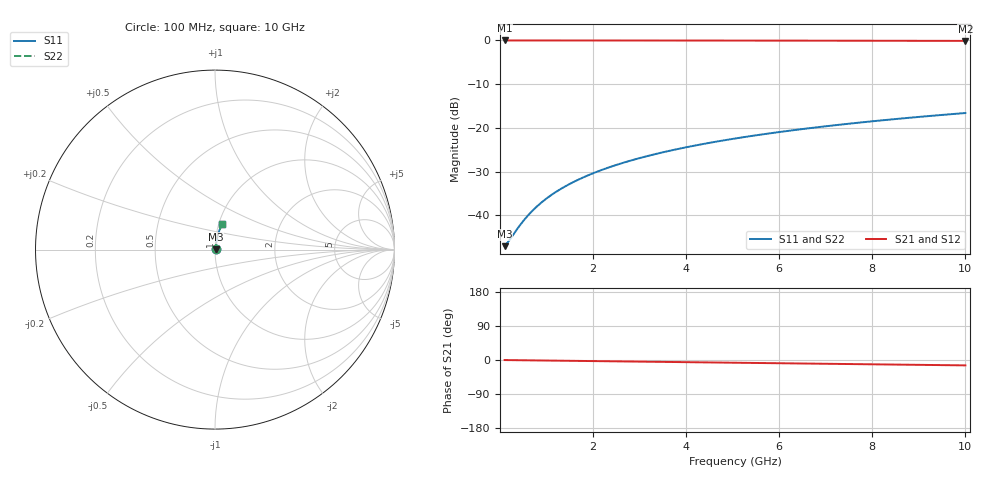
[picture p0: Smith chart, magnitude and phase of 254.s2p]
# Hz S RI R 50.00
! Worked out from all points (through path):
!   100 points, 100 MHz to 10 GHz, reference 50 ohm
!   highest |S21| = -0.04 dB at 100 MHz (marker M1); lowest = -0.1 dB at 10 GHz (marker M2)
!   group delay of S21, straight-line fit = 3.95 ps
!   lowest |S11| = -47.0 dB at 100 MHz (marker M3), VSWR 1.01, Z = 50.4 + j0.15 ohm
!   |S11| at or under -10 dB: start of sweep to end of sweep
!   |S22| runs from -47.0 to -16.6 dB; largest |S21 - S12| = 0
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1e8  0.00419 0.00149  0.9958 -0.00248  0.9958 -0.00248  0.00419 0.00149
2e8  0.00423 0.00298  0.9958 -0.00496  0.9958 -0.00496  0.00423 0.00298
4e8  0.00431 0.00595  0.9957 -0.00991  0.9957 -0.00991  0.00431 0.00595
5e8  0.00436 0.00744  0.9956 -0.0124  0.9956 -0.0124  0.00436 0.00744
6e8  0.00441 0.00893  0.9956 -0.0149  0.9956 -0.0149  0.00441 0.00893
7e8  0.00447 0.0104  0.9955 -0.0173  0.9955 -0.0173  0.00447 0.0104
8e8  0.00454 0.0119  0.9954 -0.0198  0.9954 -0.0198  0.00454 0.0119
1e9  0.00469 0.0149  0.9953 -0.0248  0.9953 -0.0248  0.00469 0.0149
1.2e9  0.00487 0.0178  0.995 -0.0297  0.995 -0.0297  0.00487 0.0178
1.5e9  0.00519 0.0223  0.9947 -0.0372  0.9947 -0.0372  0.00519 0.0223
1.8e9  0.00557 0.0267  0.9943 -0.0446  0.9943 -0.0446  0.00557 0.0267
2.1e9  0.00602 0.0312  0.9937 -0.052  0.9937 -0.052  0.00602 0.0312
2.5e9  0.00672 0.0371  0.9929 -0.0619  0.9929 -0.0619  0.00672 0.0371
2.9e9  0.00754 0.043  0.992 -0.0717  0.992 -0.0717  0.00754 0.043
3.4e9  0.00872 0.0503  0.9907 -0.084  0.9907 -0.084  0.00872 0.0503
4.2e9  0.011 0.062  0.9881 -0.1036  0.9881 -0.1036  0.011 0.062
5.1e9  0.0141 0.0749  0.9846 -0.1255  0.9846 -0.1255  0.0141 0.0749
5.9e9  0.0173 0.0863  0.9809 -0.1449  0.9809 -0.1449  0.0173 0.0863
6.7e9  0.021 0.0976  0.9767 -0.1641  0.9767 -0.1641  0.021 0.0976
7.5e9  0.0251 0.1086  0.9721 -0.1832  0.9721 -0.1832  0.0251 0.1086
8.4e9  0.0302 0.1209  0.9662 -0.2044  0.9662 -0.2044  0.0302 0.1209
1e10  0.0406 0.1419  0.9543 -0.2415  0.9543 -0.2415  0.0406 0.1419
